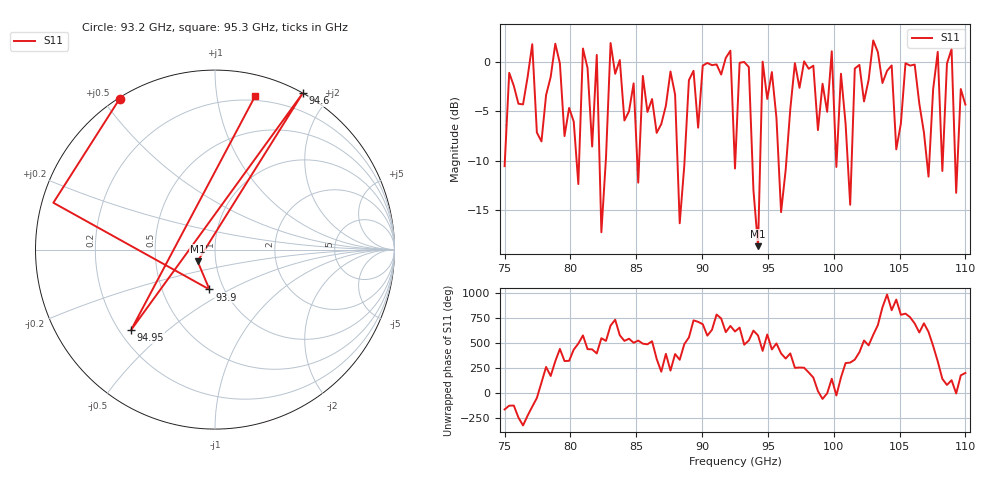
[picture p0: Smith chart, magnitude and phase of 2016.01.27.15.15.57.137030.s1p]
!Created with skrf (http://scikit-rf.org).
# GHz S RI R 50.0
!freq ReS11 ImS11
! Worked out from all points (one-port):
!   101 points, 75 GHz to 110 GHz, reference 50 ohm
!   lowest |S11| = -18.6 dB at 94.25 GHz (marker M1), VSWR 1.26, Z = 40.8 - j5.39 ohm
!   |S11| at or under -10 dB: 88.13 GHz to 88.67 GHz (540.5 MHz wide, 0.611 % of centre); 93.82 GHz to 94.41 GHz (596.3 MHz wide, 0.634 % of centre); 95.81 GHz to 96.4 GHz (595.3 MHz wide, 0.619 % of centre) (the widest 3 of 13)
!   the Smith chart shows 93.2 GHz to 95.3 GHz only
!   S11 on the Smith chart (normalised r, x): 93.2 GHz: 0.00, +0.55; 93.9 GHz: 0.85, -0.40; 94.6 GHz: 0.00, +1.71; 94.95 GHz: 0.25, -0.38; 95.3 GHz: 0.16, +1.28
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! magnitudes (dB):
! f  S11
! 75 GHz  -10.6
! 77.1 GHz  1.7
! 79.55 GHz  -7.5
! 82 GHz  0.7
! 82.35 GHz  -17.2
! 83.05 GHz  1.9
! 83.75 GHz  0.2
! 85.15 GHz  -12.2
! 87.6 GHz  -1.0
! 88.3 GHz  -16.3
! 89.35 GHz  -0.9
! 92.15 GHz  1.1
! 92.5 GHz  -10.8
! 93.2 GHz  0.0
! 93.9 GHz  -13.0
! 94.25 GHz  -18.6
! 94.6 GHz  0.0
! 94.95 GHz  -3.8
! 95.3 GHz  -1.1
! 96 GHz  -15.2
! 97.05 GHz  -0.2
! 100.5 GHz  -1.2
! 101.2 GHz  -14.5
! 101.6 GHz  -0.7
! 105.8 GHz  -0.4
! 107.2 GHz  -11.6
! 107.9 GHz  1.0
! 110 GHz  -4.3
